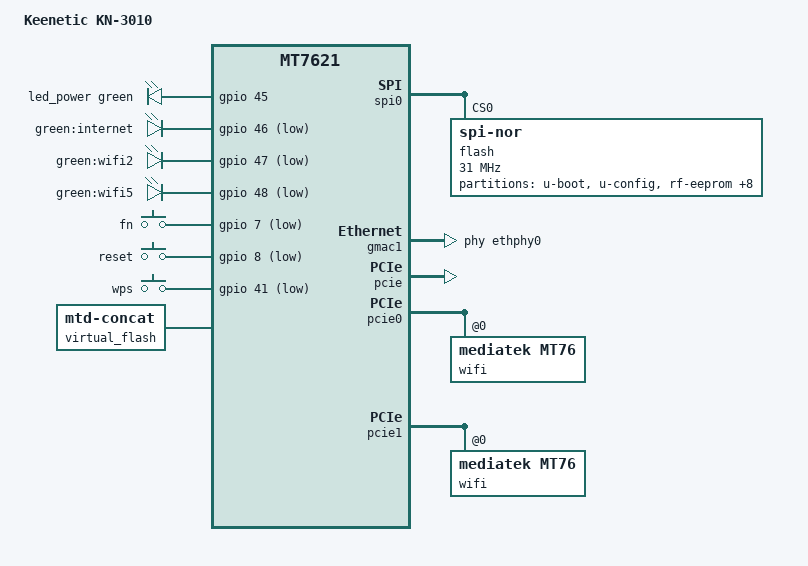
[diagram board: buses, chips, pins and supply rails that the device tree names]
// SPDX-License-Identifier: GPL-2.0-or-later OR MIT
#include "mt7621.dtsi"

#include <dt-bindings/gpio/gpio.h>
#include <dt-bindings/input/input.h>
#include <dt-bindings/leds/common.h>

/ {
	compatible = "keenetic,kn-3010", "mediatek,mt7621-soc";
	model = "Keenetic KN-3010";

	aliases {
		led-boot = &led_power;
		led-failsafe = &led_power;
		led-running = &led_power;
		led-upgrade = &led_power;
		label-mac-device = &gmac0;
	};

	chosen {
		bootargs = "console=ttyS0,115200";
	};

	leds {
		compatible = "gpio-leds";

		led_power: power {
			function = LED_FUNCTION_POWER;
			color = <LED_COLOR_ID_GREEN>;
			gpios = <&gpio 45 GPIO_ACTIVE_HIGH>;
		};

		internet {
			label = "green:internet";
			gpios = <&gpio 46 GPIO_ACTIVE_LOW>;
		};

		wifi2 {
			label = "green:wifi2";
			gpios = <&gpio 47 GPIO_ACTIVE_LOW>;
			linux,default-trigger = "phy0tpt";
		};

		wifi5 {
			label = "green:wifi5";
			gpios = <&gpio 48 GPIO_ACTIVE_LOW>;
			linux,default-trigger = "phy1tpt";
		};
	};

	keys {
		compatible = "gpio-keys";

		fn {
			label = "fn";
			gpios = <&gpio 7 GPIO_ACTIVE_LOW>;
			linux,code = <BTN_0>;
		};

		reset {
			label = "reset";
			gpios = <&gpio 8 GPIO_ACTIVE_LOW>;
			linux,code = <KEY_RESTART>;
		};

		wps {
			label = "wps";
			gpios = <&gpio 41 GPIO_ACTIVE_LOW>;
			linux,code = <KEY_WPS_BUTTON>;
		};
	};

	virtual_flash {
		compatible = "mtd-concat";
		devices = <&firmware1 &firmware2>;

		partitions {
			compatible = "fixed-partitions";
			#address-cells = <1>;
			#size-cells = <1>;

			partition@0 {
				compatible = "denx,uimage";
				label = "firmware";
				reg = <0x0 0x1ec0000>;
			};
		};
	};
};

&state_default {
	gpio {
		groups = "uart3", "sdhci";
		function = "gpio";
	};
};

&xhci {
	status = "disabled";
};

&spi0 {
	status = "okay";

	flash@0 {
		compatible = "jedec,spi-nor";
		reg = <0>;
		spi-max-frequency = <31000000>;

		partitions {
			compatible = "fixed-partitions";
			#address-cells = <1>;
			#size-cells = <1>;

			partition@0 {
				label = "u-boot";
				reg = <0x0 0x30000>;
				read-only;
			};

			partition@30000 {
				label = "u-config";
				reg = <0x30000 0x10000>;
				read-only;
			};

			partition@40000 {
				label = "rf-eeprom";
				reg = <0x40000 0x10000>;
				read-only;

				nvmem-layout {
					compatible = "fixed-layout";
					#address-cells = <1>;
					#size-cells = <1>;

					eeprom_factory_0: eeprom@0 {
						reg = <0x0 0x400>;
					};

					eeprom_factory_400: eeprom@400 {
						reg = <0x400 0x4da8>;
					};

					macaddr_factory_4: macaddr@4 {
						reg = <0x4 0x6>;
					};

					macaddr_factory_28: macaddr@28 {
						reg = <0x28 0x6>;
					};
				};
			};

			firmware1: partition@50000 {
				label = "firmware_1";
				reg = <0x50000 0xf60000>;
			};

			partition@fb0000 {
				label = "config_1";
				reg = <0xfb0000 0x40000>;
				read-only;
			};

			partition@ff0000 {
				label = "dump";
				reg = <0xff0000 0x10000>;
				read-only;
			};

			partition@1000000 {
				label = "u-state";
				reg = <0x1000000 0x30000>;
				read-only;
			};

			partition@1030000 {
				label = "u-config_res";
				reg = <0x1030000 0x10000>;
				read-only;
			};

			partition@1040000 {
				label = "rf-eeprom_res";
				reg = <0x1040000 0x10000>;
				read-only;
			};

			firmware2: partition@1050000 {
				label = "firmware_2";
				reg = <0x1050000 0xf60000>;
			};

			partition@1fb0000 {
				label = "config_2";
				reg = <0x1fb0000 0x40000>;
				read-only;
			};
		};
	};
};

&ethphy0 {
	/delete-property/ interrupts;
};

&gmac0 {
	nvmem-cells = <&macaddr_factory_4>;
	nvmem-cell-names = "mac-address";
};

&gmac1 {
	status = "okay";
	label = "wan";
	phy-handle = <&ethphy0>;

	nvmem-cells = <&macaddr_factory_28>;
	nvmem-cell-names = "mac-address";
};

&switch0 {
	ports {
		port@1 {
			status = "okay";
			label = "lan1";
		};

		port@2 {
			status = "okay";
			label = "lan2";
		};

		port@3 {
			status = "okay";
			label = "lan3";
		};

		port@4 {
			status = "okay";
			label = "lan4";
		};
	};
};

&pcie {
	status = "okay";
};

&pcie0 {
	wifi@0,0 {
		compatible = "mediatek,mt76";
		reg = <0x0000 0 0 0 0>;
		nvmem-cells = <&eeprom_factory_0>;
		nvmem-cell-names = "eeprom";
		ieee80211-freq-limit = <2400000 2500000>;
	};
};

&pcie1 {
	wifi@0,0 {
		compatible = "mediatek,mt76";
		reg = <0x0000 0 0 0 0>;
		nvmem-cells = <&eeprom_factory_400>;
		nvmem-cell-names = "eeprom";
		ieee80211-freq-limit = <5000000 6000000>;
	};
};
